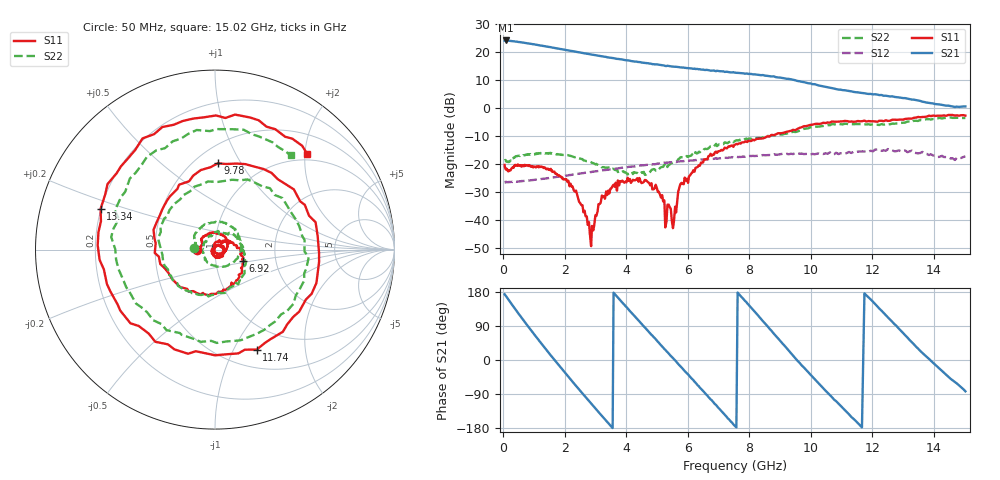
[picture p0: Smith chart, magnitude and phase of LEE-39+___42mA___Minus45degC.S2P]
! Mini-Circuits
! S2P DATA File Format
! Type: MMIC Amplifier
! Model: LEE-39+
! TEST CONDITIONS: INPUT POWER = -25dBm, Icc = 42mA, Vd = 3.80V @Temperature = -45degC
! 401 Frequency points
! S Parameters are in dB deg format
# MHz S DB R 50
!  FREQ  dB(S11)  PHS(S11)  dB(S21)  PHS(S21)  dB(S12)  PHS(S12)  dB(S22)  PHS(S22)
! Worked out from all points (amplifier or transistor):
!   401 points, 50 MHz to 15.02 GHz, reference 50 ohm
!   highest |S21| = 24.2 dB at 80 MHz (marker M1)
!   |S21| within 3 dB of that: start of sweep to 1.835 GHz
!   unconditionally stable (mu >= 1): start of sweep to end of sweep
!   at 1.04 GHz: K = 1.04, MAG = 22.9 dB, |S12| = -25.5 dB
!   at 4.57 GHz: K = 1.10, MAG = 16.3 dB, |S12| = -20.3 dB
!   at 15.02 GHz: K = 1.06, MAG = 7.3 dB, |S12| = -17.1 dB
!   S11 on the Smith chart (normalised r, x): 50 MHz: 0.82, -0.00; 6.92 GHz: 1.36, -0.18; 9.78 GHz: 0.64, +0.80; 11.74 GHz: 0.71, -1.24; 13.34 GHz: 0.20, +0.17; 15.02 GHz: 0.86, +2.04
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50  -20.20 -179.8  24.16 173.5  -26.28 -4.9  -18.55 174.6
80  -21.60 172.8  24.22 170.2  -26.45 -4.4  -18.44 174.2
425  -20.40 138.2  23.81 130.9  -26.21 -24.2  -17.04 145.3
710  -20.17 107.2  23.36 99.8  -25.89 -41.0  -16.77 120.8
1025  -20.79 75.1  22.78 66.3  -25.52 -60.3  -16.29 91.1
1430  -21.57 36.6  22.04 24.5  -25.00 -85.8  -16.16 56.2
2020  -25.35 -16.0  20.85 -34.3  -24.03 -125.0  -16.60 6.5
2580  -34.59 -81.2  19.77 -88.4  -23.13 -163.8  -18.11 -36.1
3100  -34.18 73.6  18.77 -137.1  -22.33 158.9  -20.31 -80.1
3560  -27.67 26.5  17.94 -179.6  -21.67 125.2  -21.57 -120.1
4290  -25.68 -24.5  16.67 114.3  -20.73 69.9  -22.94 168.0
5060  -29.76 -99.2  15.57 45.7  -19.72 10.9  -21.73 100.3
5800  -26.60 64.0  14.57 -19.8  -18.90 -47.7  -17.41 41.1
6920  -15.44 -22.8  13.24 -118.7  -17.75 -138.6  -12.67 -56.2
7550  -12.89 -71.8  12.72 -175.5  -17.39 171.5  -11.55 -107.0
8520  -10.41 -160.8  11.65 95.6  -16.74 91.6  -10.16 174.1
9780  -6.36 88.2  9.34 -20.4  -16.33 -14.7  -7.32 65.1
10060  -5.83 65.0  8.61 -44.9  -16.26 -38.4  -6.93 42.6
11740  -4.38 -67.3  5.39 175.7  -15.41 -173.4  -5.71 -79.8
12580  -4.42 -135.0  4.22 106.2  -14.93 114.7  -5.66 -141.9
13340  -3.39 160.3  3.11 42.0  -15.79 48.7  -4.45 158.6
15020  -2.60 46.2  0.67 -82.7  -17.11 -69.7  -3.43 51.1
